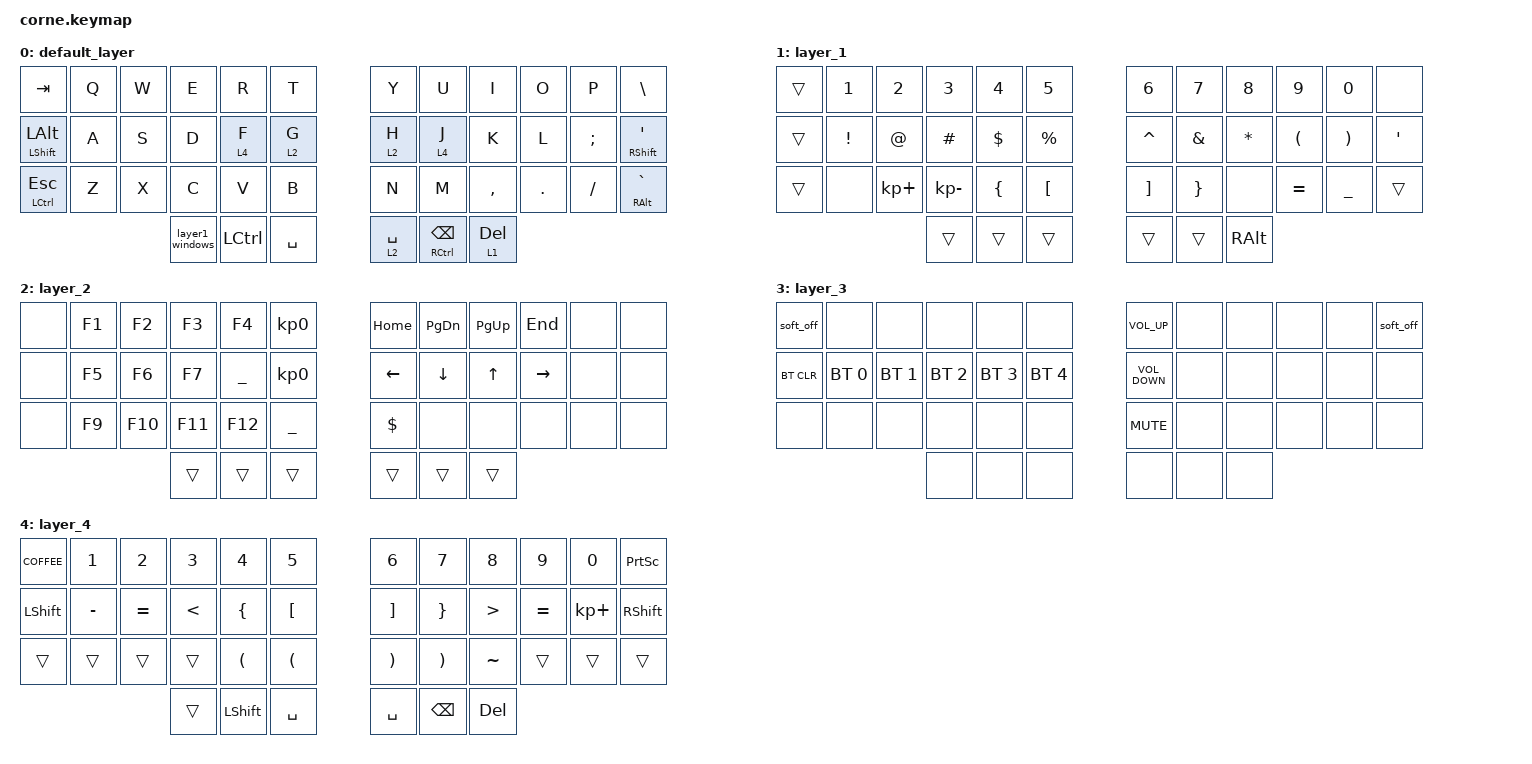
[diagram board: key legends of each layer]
/*
 * Copyright (c) 2020 The ZMK Contributors
 *
 * SPDX-License-Identifier: MIT
 */

#include <behaviors.dtsi>
#include <dt-bindings/zmk/bt.h>
#include <dt-bindings/zmk/keys.h>

/ {
    behaviors {
        layer1_windows: layer1_windows {
            compatible = "zmk,behavior-mod-morph";
            label = "LAYER1_WINDOWS";
            bindings = <&mo 1>, <&kp LEFT_WIN>;

            #binding-cells = <0>;
            mods = <(MOD_LSFT|MOD_RSFT)>;
        };
    };

    combos {
        compatible = "zmk,combos";

        mo_layer3 {
            bindings = <&mo 3>;
            key-positions = <37 38>;
        };

        layer-3-right {
            bindings = <&mo 3>;
            key-positions = <39 40>;
        };

        layer4_combo {
            bindings = <&tog 4>;
            key-positions = <24 35>;
        };

        double_space_enter {
            bindings = <&kp ENTER>;
            key-positions = <38 39>;
        };

        bootloader {
            bindings = <&bootloader>;
            key-positions = <16 38>;
        };

        bootloader-right {
            bindings = <&bootloader>;
            key-positions = <39 19>;
        };
    };

    keymap {
        compatible = "zmk,keymap";

        default_layer {
            // -----------------------------------------------------------------------------------------
            // |  TAB |  Q  |  W  |  E  |  R  |  T  |   |  Y  |  U   |  I  |  O  |  P  | BSPC |
            // | CTRL |  A  |  S  |  D  |  F  |  G  |   |  H  |  J   |  K  |  L  |  ;  |  '   |
            // | SHFT |  Z  |  X  |  C  |  V  |  B  |   |  N  |  M   |  ,  |  .  |  /  | ESC  |
            //                    | GUI | LWR | SPC |   | ENT | RSE  | ALT |

            bindings = <
&kp TAB                  &kp Q  &kp W  &kp E            &kp R      &kp T        &kp Y        &kp U                &kp I         &kp O    &kp P          &kp BACKSLASH
&mt LEFT_SHIFT LEFT_ALT  &kp A  &kp S  &kp D            &lt 4 F    &lt 2 G      &lt 2 H      &lt 4 J              &kp K         &kp L    &kp SEMICOLON  &mt RIGHT_SHIFT SINGLE_QUOTE
&mt LCTRL ESCAPE         &kp Z  &kp X  &kp C            &kp V      &kp B        &kp N        &kp M                &kp COMMA     &kp DOT  &kp FSLH       &mt RIGHT_ALT GRAVE
                                       &layer1_windows  &kp LCTRL  &kp SPACE    &lt 2 SPACE  &mt RCTRL BACKSPACE  &lt 1 DELETE
            >;
        };

        layer_1 {
            bindings = <
&trans  &kp NUMBER_1     &kp NUMBER_2  &kp NUMBER_3  &kp NUMBER_4    &kp N5              &kp NUMBER_6       &kp N7           &kp N8         &kp N9                &kp N0                 &none
&trans  &kp EXCLAMATION  &kp AT_SIGN   &kp POUND     &kp DOLLAR      &kp PERCENT         &kp CARET          &kp AMPERSAND    &kp ASTERISK   &kp LEFT_PARENTHESIS  &kp RIGHT_PARENTHESIS  &kp SINGLE_QUOTE
&trans  &none            &kp KP_PLUS   &kp KP_MINUS  &kp LEFT_BRACE  &kp LEFT_BRACKET    &kp RIGHT_BRACKET  &kp RIGHT_BRACE  &none          &kp EQUAL             &kp UNDER              &trans
                                       &trans        &trans          &trans              &trans             &trans           &kp RIGHT_ALT
            >;
        };

        layer_2 {
            bindings = <
&none  &kp F1  &kp F2   &kp F3   &kp F4     &kp KP_NUMBER_0    &kp HOME    &kp PAGE_DOWN  &kp PAGE_UP  &kp END    &none  &none
&none  &kp F5  &kp F6   &kp F7   &kp UNDER  &kp KP_NUMBER_0    &kp LEFT    &kp DOWN       &kp UP       &kp RIGHT  &none  &none
&none  &kp F9  &kp F10  &kp F11  &kp F12    &kp UNDER          &kp DOLLAR  &none          &none        &none      &none  &none
                        &trans   &trans     &trans             &trans      &trans         &trans
            >;
        };

        layer_3 {
            bindings = <
&soft_off   &none         &none         &none         &none         &none           &kp C_VOLUME_UP    &none  &none  &none  &none  &soft_off
&bt BT_CLR  &bt BT_SEL 0  &bt BT_SEL 1  &bt BT_SEL 2  &bt BT_SEL 3  &bt BT_SEL 4    &kp C_VOLUME_DOWN  &none  &none  &none  &none  &none
&none       &none         &none         &none         &none         &none           &kp K_MUTE         &none  &none  &none  &none  &none
                                        &none         &none         &none           &none              &none  &none
            >;
        };

        layer_4 {
            bindings = <
&kp K_COFFEE    &kp N1     &kp N2     &kp N3         &kp N4                &kp N5                  &kp N6                 &kp N7                 &kp N8            &kp N9     &kp N0       &kp PRINTSCREEN
&kp LEFT_SHIFT  &kp MINUS  &kp EQUAL  &kp LESS_THAN  &kp LEFT_BRACE        &kp LBKT                &kp RBKT               &kp RIGHT_BRACE        &kp GREATER_THAN  &kp EQUAL  &kp KP_PLUS  &kp RIGHT_SHIFT
&trans          &trans     &trans     &trans         &kp LEFT_PARENTHESIS  &kp LEFT_PARENTHESIS    &kp RIGHT_PARENTHESIS  &kp RIGHT_PARENTHESIS  &kp TILDE         &trans     &trans       &trans
                                      &trans         &kp LEFT_SHIFT        &kp SPACE               &kp SPACE              &kp BACKSPACE          &kp DELETE
            >;
        };
    };
};
